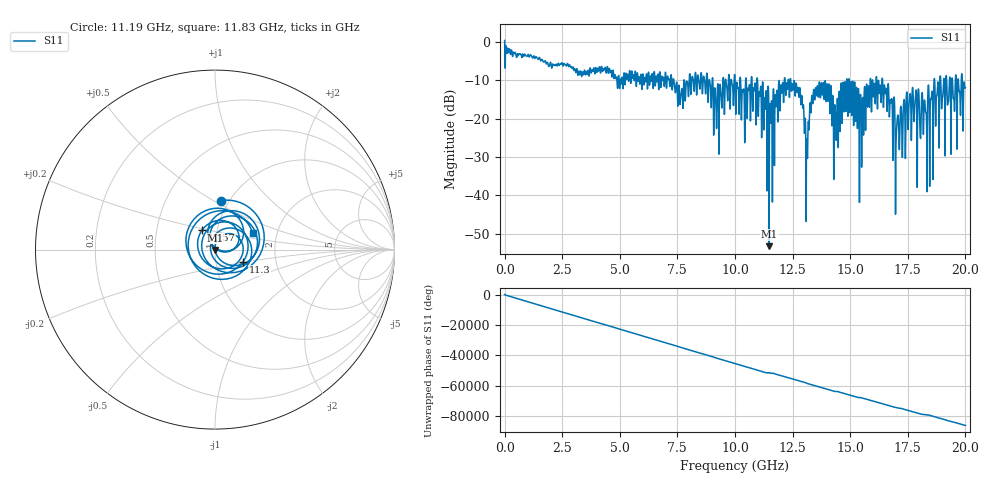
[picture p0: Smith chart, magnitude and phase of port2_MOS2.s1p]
! MS46122B
! 2250307/22442219
! 7/21/2025 12:06:02 PM
! C:\USERS\SPARKY\DOCUMENTS\VNA_DATA\JULY21_2025\295K\PORT2_MOS2.S1P
! CHANNEL.1
! TR.MEASUREMENT
! RAW.DATA
# GHZ S RI R 50.0
! FREQ.GHZ  S11RE  S11IM
!; PortSelection: Port_1
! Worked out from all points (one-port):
!   10001 points, 1 MHz to 20 GHz, reference 50 ohm
!   lowest |S11| = -53.2 dB at 11.48 GHz (marker M1), VSWR 1.00, Z = 50.1 - j0.197 ohm
!   |S11| at or under -10 dB: 10.98 GHz to 12.14 GHz (1.163 GHz wide, 10.1 % of centre); 12.42 GHz to 14.85 GHz (2.428 GHz wide, 17.8 % of centre); 16.41 GHz to 18.64 GHz (2.235 GHz wide, 12.8 % of centre) (the widest 3 of 65)
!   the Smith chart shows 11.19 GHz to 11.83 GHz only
!   S11 on the Smith chart (normalised r, x): 11.19 GHz: 0.91, +0.54; 11.3 GHz: 1.36, -0.19; 11.57 GHz: 0.85, +0.19; 11.83 GHz: 1.49, +0.30
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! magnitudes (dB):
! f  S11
! 1 MHz  0.4
! 2.501 GHz  -5.6
! 5.001 GHz  -11.7
! 7.501 GHz  -13.7
! 8.711 GHz  -12.3
! 9.233 GHz  -13.1
! 10 GHz  -9.4
! 11.19 GHz  -11.2
! 11.3 GHz  -15.4
! 11.48 GHz  -53.2
! 11.57 GHz  -17.7
! 11.83 GHz  -12.8
! 12.5 GHz  -11.2
! 12.89 GHz  -14.2
! 13.11 GHz  -26.5
! 13.33 GHz  -14.0
! 13.58 GHz  -11.5
! 14.08 GHz  -11.0
! 14.38 GHz  -22.9
! 15 GHz  -13.3
! 15.49 GHz  -24.6
! 15.8 GHz  -11.5
! 16.47 GHz  -12.3
! 17.05 GHz  -19.7
! 17.5 GHz  -20.0
! 18.26 GHz  -17.0
! 18.73 GHz  -16.1
! 20 GHz  -11.9
